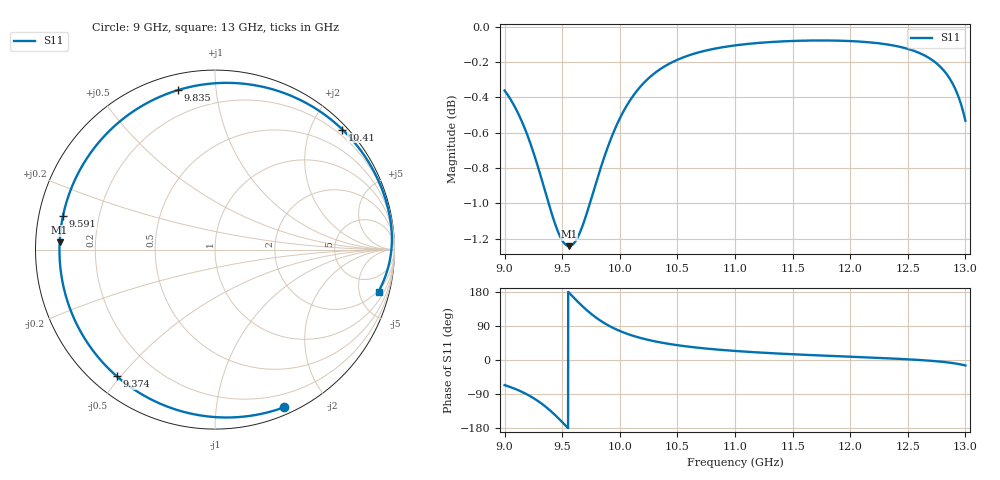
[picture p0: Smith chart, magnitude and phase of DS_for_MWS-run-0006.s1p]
! TOUCHSTONE file generated by CST DESIGN STUDIO
! Date and time: Tue Feb  4 17:05:22 2025
! Project name: C:\Work\MatlabApps\UnitCellOptimizationMatlab\CST\unitcell.cst
! Tree item: Tasks\Sweep1\SPara1\S-Parameters
! Header version: 2024
! Port assignment regex: !\s*Touchstone port\s*([0-9]+)\s*=\s*(CST MWS port|CST DES external port|CST DES block port)\s*(.+)\s* \(\"(.*)\"\)(\s*mode\s*([0-9]+))?.*
! Touchstone port assignment:
! Touchstone port 1 = CST DES external port 1 ("")
# GHz S MA R 50
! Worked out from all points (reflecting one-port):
!   4001 points, 9 GHz to 13 GHz, reference 50 ohm
!   lowest |S11| = -1.2 dB at 9.56 GHz (marker M1), VSWR 14.00, Z = 3.57 + j1.18 ohm
!   phase of S11 starts at -66 deg and turns -308 deg over the sweep
!   S11 on the Smith chart (normalised r, x): 9 GHz: 0.07, -1.53; 9.374 GHz: 0.07, -0.49; 9.591 GHz: 0.07, +0.11; 9.835 GHz: 0.07, +0.79; 10.41 GHz: 0.09, +2.52; 13 GHz: 1.85, -7.47
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9  0.9592 -66.3
9.042  0.9548 -70.6
9.108  0.9464 -78.3
9.223  0.9268 -95.6
9.302  0.9098 -110.9
9.374  0.893 -127.8
9.434  0.8801 -144.0
9.5  0.8699 -163.8
9.56  0.8666 177.3
9.591  0.8675 167.5
9.647  0.8734 150.3
9.714  0.8855 131.3
9.773  0.8985 116.6
9.835  0.9122 103.2
9.91  0.9272 89.6
10  0.9419 76.6
10.088  0.953 66.5
10.183  0.962 57.9
10.289  0.9694 50.2
10.41  0.9753 43.3
10.5  0.9786 39.1
10.721  0.9841 31.1
11  0.9879 23.9
11.5  0.9907 15.2
12  0.9907 8.7
12.5  0.9856 1.8
12.798  0.973 -4.7
13  0.9405 -14.4
